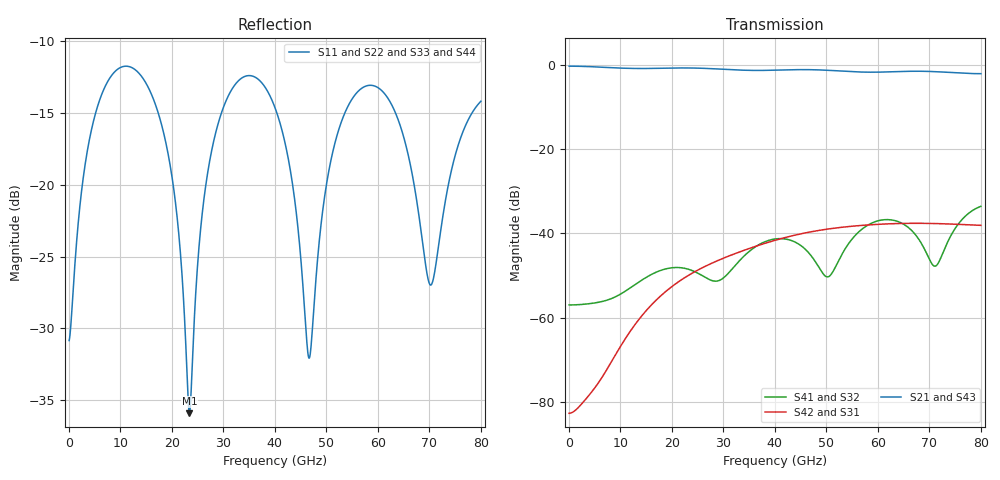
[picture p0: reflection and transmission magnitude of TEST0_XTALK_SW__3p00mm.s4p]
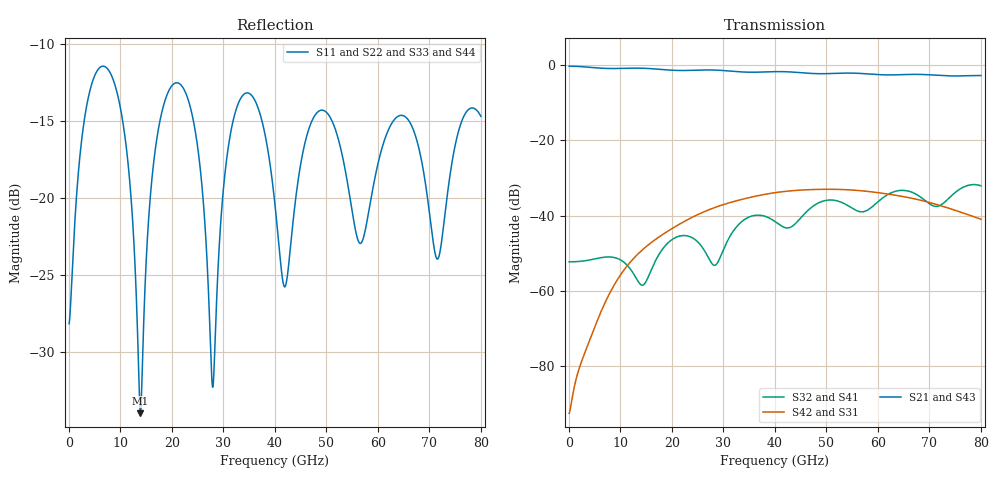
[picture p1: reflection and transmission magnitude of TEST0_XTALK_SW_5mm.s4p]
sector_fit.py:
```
"""
Even/odd sector test on the Istanbul lengths.

Each sector (even: V_A = V_B, odd: V_A = -V_B) of the mirror-symmetric pair is
a 2-port. Model per sector: one uniform mode (gamma, line normalised to 60 ohm)
between two identical, mirrored, reciprocal end junctions J (ABCD a, b, c;
d = (1 + b c)/a). Unknowns per frequency: a, b, c, gamma (4 complex).
Data per length: S11, S21 of the end-symmetrised sector 2-port (2 complex).
With 3 lengths: 6 complex equations for 4 unknowns, so the residual is a
genuine test of 'one mode + fixed ends'.
"""
import os, numpy as np, skrf
from scipy.optimize import least_squares
UP = os.path.dirname(os.path.dirname(os.path.abspath(__file__)))
FILES = {3.0: "TEST0_XTALK_SW__3p00mm.s4p", 5.0: "TEST0_XTALK_SW_5mm.s4p",
         8.75: "ISTANBUL_SW_8p75mm.s4p", 1.0: "ISTANBUL_SW_1p00mm.s4p"}
R0, ZL, C0 = 50.0, 60.0, 2.99792458e8

def sectors(fn):
    n = skrf.Network(os.path.join(UP, fn)); s = n.s
    out = {}
    for name, sg in (("even", 1), ("odd", -1)):
        S11 = 0.5*((s[:, 0, 0] + sg*s[:, 0, 2]) + (s[:, 1, 1] + sg*s[:, 1, 3]))
        S21 = 0.5*((s[:, 1, 0] + sg*s[:, 1, 2]) + (s[:, 0, 1] + sg*s[:, 0, 3]))
        out[name] = (S11, S21)
    return n.f, out

def model(x, L_list, w):
    a, b, c = x[0]+1j*x[1], x[2]+1j*x[3], x[4]+1j*x[5]
    g = x[6] + 1j*x[7]                         # 1/m
    d = (1 + b*c)/a
    J = np.array([[a, b], [c, d]]); Jr = np.array([[d, b], [c, a]])
    res = []
    for L in L_list:
        gl = g*L*1e-3
        Ln = np.array([[np.cosh(gl), ZL*np.sinh(gl)], [np.sinh(gl)/ZL, np.cosh(gl)]])
        A, B, C, D = (J @ Ln @ Jr).ravel()
        den = A + B/R0 + C*R0 + D
        res.append(((A + B/R0 - C*R0 - D)/den, 2/den))
    return res

def fit(f, data, Ls, pick):
    out = []
    x = np.array([1, 0, 0, 0, 0, 0, 0.0, 0.0])
    for i in pick:
        w = 2*np.pi*f[i]
        if i == pick[0] or True:
            x[6] = max(x[6], 0.5); x[7] = w*2.10/C0 if x[7] == 0 else x[7]*f[i]/f[prev] if 'prev' in dir() else w*2.10/C0
        def r(xx):
            m = model(xx, Ls, w); e = []
            for (S11, S21), L in zip(m, Ls):
                e += [S11 - data[L][0][i], S21 - data[L][1][i]]
            e = np.array(e); return np.concatenate([e.real, e.imag])
        best = None
        for x0 in (x, np.array([1, 0, 0, 0, 0, 0, x[6], x[7]])):
            s = least_squares(r, x0, method="lm", max_nfev=4000)
            if best is None or s.cost < best.cost: best = s
        x = best.x; prev = i
        e = r(x); e = e[:len(e)//2] + 1j*e[len(e)//2:]
        out.append((f[i], np.max(np.abs(e)), x[7]*C0/w, x[6]*8.686/100))
    return np.array(out)

if __name__ == "__main__":
    data = {}
    for L, fn in FILES.items():
        f, sec = sectors(fn); data[L] = sec
    Ls = [3.0, 5.0, 8.75]
    pick = [i for i in range(len(f)) if 2e9 <= f[i] <= 60e9][::5]
    res = {}
    for name in ("even", "odd"):
        dd = {L: data[L][name] for L in Ls}
        res[name] = fit(f, dd, Ls, pick)
    print(" GHz | even: max|err|  n    a dB/cm | odd: max|err|  n    a dB/cm")
    for k in range(0, len(pick), 4):
        e, o = res["even"][k], res["odd"][k]
        print(f"{e[0]/1e9:5.1f} | {e[1]:.4f} {e[2]:.4f} {e[3]:5.2f} | {o[1]:.4f} {o[2]:.4f} {o[3]:5.2f}")
    for name in ("even", "odd"):
        r = res[name]; m = (r[:, 0] >= 10e9) & (r[:, 0] <= 40e9)
        print(name, "median max|err| 2-60 GHz", np.median(r[:, 1]), " 10-40 GHz", np.median(r[m, 1]))
    np.savez("sector_fit.npz", even=res["even"], odd=res["odd"])
```
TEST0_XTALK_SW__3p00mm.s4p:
! TOUCHSTONE file generated by CST MICROWAVE STUDIO
! Date and time: Thu Oct 22 15:25:15 2026
! Project name: TEST0_XTALK_SW_3mm.cst
! Parameters = {L=3; L1=0.01; L2=0.076; PITCH=0.2; START_POSITION=0.1; W1=0.002; W2=0.022; gap=0.00415; interaxis=0.625; ln_thickness=0.000275; mtx=0.002; si_thickness=0.3; sio2_thickness=0.0047; w=1; wg=0.03; ws=0.01}
! Header version: 2024
! Port assignment regex: !\s*Touchstone port\s*([0-9]+)\s*=\s*(CST MWS port|CST DES external port|CST DES block port)\s*(.+)\s* \(\"(.*)\"\)(\s*mode\s*([0-9]+))?.*
! Touchstone port assignment:
! Touchstone port 1 = CST MWS port 1 ("")
! Touchstone port 2 = CST MWS port 2 ("")
! Touchstone port 3 = CST MWS port 3 ("")
! Touchstone port 4 = CST MWS port 4 ("")
# GHz S MA R 50
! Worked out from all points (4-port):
!   1000 points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, 80 MHz to 80 GHz, reference 50 ohm
!   strongest paths, dB at 80 MHz, 20.08 GHz, 40.08 GHz, 60.08 GHz, 80 GHz:
!     S21: -0.3, -0.7, -1.2, -1.7, -2.0
!     S43: -0.3, -0.7, -1.2, -1.7, -2.0
!     S42: -82.7, -52.6, -41.6, -37.8, -38.1
!     S31: -82.7, -52.6, -41.6, -37.8, -38.1
!     S41: -57.0, -48.1, -41.3, -37.0, -33.6
!     S32: -57.0, -48.1, -41.3, -37.0, -33.6
!   lowest |S11| = -35.9 dB at 23.44 GHz (marker M1), VSWR 1.03, Z = 51.6 - j0.13 ohm
!   |S11| at or under -10 dB: start of sweep to end of sweep
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0.08  0.02868 5.3  0.9713 -0.6  7.33e-05 176.5  0.001416 -2.4
      0.9713 -0.6  0.02867 5.3  0.001416 -2.4  7.315e-05 176.5
      7.328e-05 176.5  0.001416 -2.4  0.02868 5.3  0.9713 -0.6
      0.001416 -2.4  7.314e-05 176.5  0.9713 -0.6  0.02868 5.3
23.44  0.01599 -4.5  0.9245 -178.5  0.003234 -38.0  0.003727 91.2
       0.9245 -178.5  0.01603 -4.6  0.003727 91.2  0.003234 -38.0
       0.003234 -38.0  0.003727 91.2  0.01599 -4.5  0.9245 -178.5
       0.003727 91.2  0.003234 -38.0  0.9245 -178.5  0.01603 -4.6
80  0.1957 11.8  0.791 116.2  0.0125 50.0  0.02101 36.5
    0.791 116.2  0.1956 11.8  0.02101 36.5  0.0125 50.0
    0.0125 50.0  0.02101 36.5  0.1957 11.8  0.7909 116.2
    0.02101 36.5  0.0125 50.0  0.7909 116.2  0.1956 11.8
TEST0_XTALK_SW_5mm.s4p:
! TOUCHSTONE file generated by CST MICROWAVE STUDIO
! Date and time: Fri Oct 23 11:41:42 2026
! Project name: TEST0_XTALK_SW_3mm.cst
! Parameters = {L=5; L1=0.01; L2=0.076; PITCH=0.2; START_POSITION=0.1; W1=0.002; W2=0.022; gap=0.00415; interaxis=0.625; ln_thickness=0.000275; mtx=0.002; si_thickness=0.3; sio2_thickness=0.0047; w=1; wg=0.03; ws=0.01}
! Header version: 2024
! Port assignment regex: !\s*Touchstone port\s*([0-9]+)\s*=\s*(CST MWS port|CST DES external port|CST DES block port)\s*(.+)\s* \(\"(.*)\"\)(\s*mode\s*([0-9]+))?.*
! Touchstone port assignment:
! Touchstone port 1 = CST MWS port 1 ("")
! Touchstone port 2 = CST MWS port 2 ("")
! Touchstone port 3 = CST MWS port 3 ("")
! Touchstone port 4 = CST MWS port 4 ("")
# GHz S MA R 50
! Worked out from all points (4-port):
!   1000 points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, 80 MHz to 80 GHz, reference 50 ohm
!   strongest paths, dB at 80 MHz, 20.08 GHz, 40.08 GHz, 60.08 GHz, 80 GHz:
!     S21: -0.3, -1.4, -1.8, -2.6, -2.8
!     S43: -0.3, -1.4, -1.8, -2.6, -2.8
!     S42: -92.4, -43.4, -33.9, -33.9, -40.9
!     S31: -92.4, -43.4, -33.9, -33.9, -40.9
!     S32: -52.2, -46.3, -41.6, -36.2, -32.1
!     S41: -52.2, -46.3, -41.6, -36.2, -32.1
!   lowest |S11| = -34.0 dB at 13.92 GHz (marker M1), VSWR 1.04, Z = 52 - j0.279 ohm
!   |S11| at or under -10 dB: start of sweep to end of sweep
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0.08  0.03914 6.4  0.9636 -1.1  2.378e-05 5.4  0.002446 176.8
      0.9636 -1.1  0.03914 6.4  0.002446 176.8  2.365e-05 5.4
      2.405e-05 5.3  0.002447 176.8  0.03914 6.4  0.9636 -1.1
      0.002447 176.8  2.391e-05 5.3  0.9636 -1.1  0.03914 6.4
13.92  0.02003 -7.7  0.9061 -177.7  0.003339 -26.9  0.001228 1.0
       0.9061 -177.7  0.02002 -7.7  0.001228 1.0  0.003339 -26.9
       0.003338 -26.9  0.001229 1.0  0.02004 -7.7  0.9061 -177.7
       0.001229 1.0  0.003338 -26.9  0.9061 -177.7  0.02002 -7.7
80  0.1843 -15.1  0.7235 75.1  0.008984 -105.6  0.02495 -55.4
    0.7235 75.1  0.1844 -15.1  0.02495 -55.4  0.00899 -105.5
    0.008978 -105.6  0.02496 -55.4  0.1843 -15.1  0.7235 75.1
    0.02496 -55.4  0.008984 -105.6  0.7235 75.1  0.1844 -15.1
